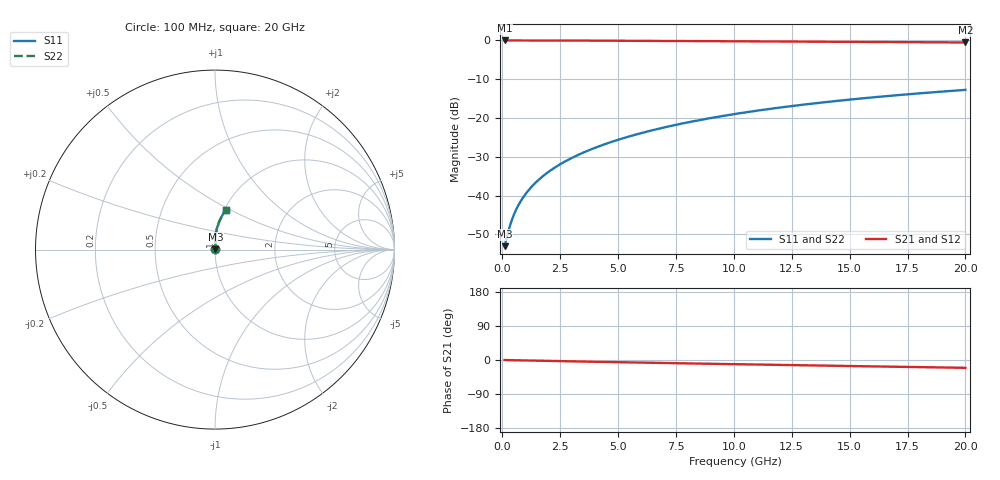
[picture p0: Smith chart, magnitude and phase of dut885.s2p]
! Touchstone file exported from HFSS 2024.1.0
!  File:  C:/UserFiles/LocalFiles/RDL_TSV_Batchsim/temp_RDL_top_885_1779856987.aedt
!  Generated:  12:45:15 PM May 27, 2026
!  Design:  RDL_top
!  Project:  temp_RDL_top_885_1779856987
!  Setup:  Setup1
!  Solution:  Sweep
! Variables:
!  dtsv = 10.80580581um
!  hbump = 3um
!  htsv = 81.18um
!  ldown = 100um
!  lrdl = 236.49um
!  p = 40
!  p1 = 56.61um
!  rhole = 1um
!  t = 450um
!  tdown = 3.915915916um
!  trdl = 2.2um
!  wdown = 15.38538539um
!  wrdl = 24.57um
# GHz S MA R 50.000000
! Terminal data exported
! Port[1] = Box2_T1
! Port[2] = Box2_T2
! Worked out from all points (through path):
!   200 points, 100 MHz to 20 GHz, reference 50 ohm
!   highest |S21| = -0.02 dB at 100 MHz (marker M1); lowest = -0.5 dB at 20 GHz (marker M2)
!   group delay of S21, straight-line fit = 2.84 ps
!   lowest |S11| = -53.0 dB at 100 MHz (marker M3), VSWR 1.00, Z = 50.2 + j0.109 ohm
!   |S11| at or under -10 dB: start of sweep to end of sweep
!   |S22| runs from -53.0 to -12.8 dB; largest |S21 - S12| = 3.1e-15
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0.1  0.002227 29.2  0.9981 -0.1  0.9981 -0.1  0.002227 29.2
! Gamma 0 0 0 0
! Port Impedance 50 0 50 0
0.3  0.003805 57.5  0.9979 -0.4  0.9979 -0.4  0.003805 57.5
0.4  0.004727 63.6  0.9978 -0.5  0.9978 -0.5  0.004727 63.6
0.5  0.005666 67.6  0.9977 -0.6  0.9977 -0.6  0.005666 67.6
0.6  0.00661 70.5  0.9976 -0.7  0.9976 -0.7  0.00661 70.5
0.8  0.008507 74.6  0.9974 -1.0  0.9974 -1.0  0.008507 74.6
1.1  0.01138 78.4  0.9971 -1.3  0.9971 -1.3  0.01138 78.4
1.3  0.01332 80.2  0.9969 -1.6  0.9969 -1.6  0.01332 80.2
1.6  0.01626 82.1  0.9965 -1.9  0.9965 -1.9  0.01626 82.1
2.1  0.02125 84.3  0.9958 -2.5  0.9958 -2.5  0.02125 84.3
2.7  0.02739 85.9  0.9948 -3.2  0.9948 -3.2  0.02739 85.9
3.5  0.03581 87.2  0.9931 -4.1  0.9931 -4.1  0.03581 87.2
4.2  0.04341 87.8  0.9914 -4.9  0.9914 -4.9  0.04341 87.8
5  0.05234 88.1  0.9893 -5.8  0.9893 -5.8  0.05234 88.1
5.9  0.06267 88.0  0.9867 -6.8  0.9867 -6.8  0.06267 88.0
6.8  0.07324 87.7  0.984 -7.7  0.984 -7.7  0.07324 87.7
8.4  0.09246 86.7  0.9791 -9.4  0.9791 -9.4  0.09246 86.7
10.1  0.1132 85.2  0.9737 -11.1  0.9737 -11.1  0.1132 85.2
11.7  0.1327 83.6  0.9686 -12.7  0.9686 -12.7  0.1327 83.6
13.4  0.1533 81.7  0.9632 -14.4  0.9632 -14.4  0.1533 81.7
16.7  0.1925 78.1  0.9523 -17.5  0.9523 -17.5  0.1925 78.1
20  0.2302 74.5  0.9411 -20.6  0.9411 -20.6  0.2302 74.5
